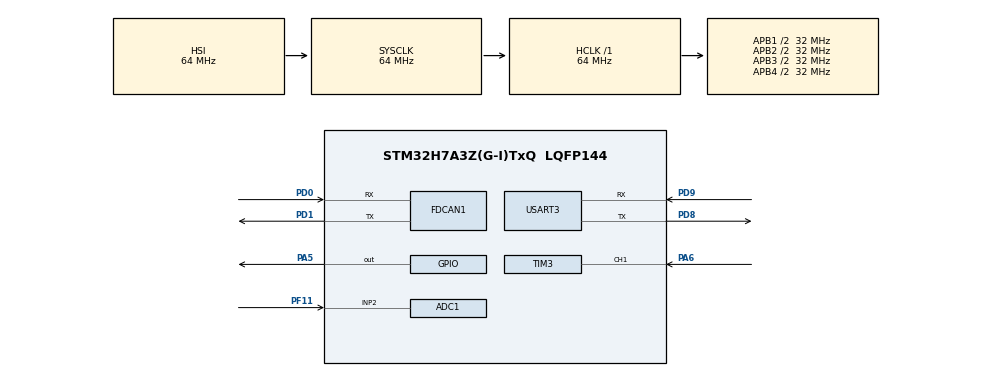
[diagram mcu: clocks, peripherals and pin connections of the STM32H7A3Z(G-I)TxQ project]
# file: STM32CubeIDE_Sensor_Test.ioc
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ADC1.Channel-0\#ChannelRegularConversion=ADC_CHANNEL_2
ADC1.NbrOfConversionFlag=1
ADC1.OffsetNumber-0\#ChannelRegularConversion=ADC_OFFSET_NONE
ADC1.OffsetSignedSaturation-0\#ChannelRegularConversion=DISABLE
ADC1.Rank-0\#ChannelRegularConversion=1
ADC1.SamplingTime-0\#ChannelRegularConversion=ADC_SAMPLETIME_1CYCLE_5
ADC1.master=1
FDCAN1.AutoRetransmission=ENABLE
FDCAN1.DataSyncJumpWidth=4
FDCAN1.DataTimeSeg1=5
FDCAN1.DataTimeSeg2=4
FDCAN1.FrameFormat=FDCAN_FRAME_FD_NO_BRS
FDCAN1.NominalTimeSeg1=5
FDCAN1.RxBuffersNbr=1
FDCAN1.RxFifo0ElmtsNbr=1
FDCAN1.StdFiltersNbr=1
Mcu.Family=STM32H7
Mcu.Name=STM32H7A3Z(G-I)TxQ
Mcu.Package=LQFP144
NVIC.PriorityGroup=NVIC_PRIORITYGROUP_4
NVIC.TIM3_IRQn=true\:0\:0\:false\:false\:true\:true\:true
PA5.Signal=GPIO_Output
PA6.Signal=S_TIM3_CH1
PD0.Mode=FDCAN_Activate
PD0.Signal=FDCAN1_RX
PD1.Mode=FDCAN_Activate
PD1.Signal=FDCAN1_TX
PD8.Mode=Asynchronous
PD8.Signal=USART3_TX
PD9.Mode=Asynchronous
PD9.Signal=USART3_RX
PF11.Mode=IN2-Single-Ended
PF11.Signal=ADC1_INP2
PH0-OSC_IN.Mode=HSE-External-Oscillator
PH0-OSC_IN.Signal=RCC_OSC_IN
PH1-OSC_OUT.Mode=HSE-External-Oscillator
PH1-OSC_OUT.Signal=RCC_OSC_OUT
ProjectManager.HeapSize=0x200
ProjectManager.StackSize=0x400
ProjectManager.TargetToolchain=STM32CubeIDE
RCC.ADCFreq_Value=128000000
RCC.APB1Freq_Value=32000000
RCC.APB2Freq_Value=32000000
RCC.APB3Freq_Value=32000000
RCC.APB4Freq_Value=32000000
RCC.CDPPRE=RCC_APB3_DIV2
RCC.CDPPRE1=RCC_APB1_DIV2
RCC.CDPPRE2=RCC_APB2_DIV2
RCC.CortexFreq_Value=64000000
RCC.DIVM1=4
RCC.DIVM2=4
RCC.DIVN1=8
RCC.DIVN2=8
RCC.DIVP2=1
RCC.DIVQ1=32
RCC.HCLKFreq_Value=64000000
RCC.PLL2FRACN=0
RCC.PLLFRACN=0
RCC.SRDPPRE=RCC_APB4_DIV2
RCC.SYSCLKFreq_VALUE=64000000
RCC.USBFreq_Value=4000000
SH.S_TIM3_CH1.0=TIM3_CH1,Input_Capture1_from_TI1
TIM3.Channel-Input_Capture1_from_TI1=TIM_CHANNEL_1
TIM3.Period=0xffff-1
TIM3.Prescaler=64-1
USART3.VirtualMode-Asynchronous=VM_ASYNC
VP_TIM3_VS_ClockSourceINT.Mode=Internal
board=custom

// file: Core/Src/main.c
/* USER CODE BEGIN Header */
/**
  ******************************************************************************
  * @file           : main.c
  * @brief          : Main program body
  ******************************************************************************
  * @attention
  *
  * Copyright (c) 2023 STMicroelectronics.
  * All rights reserved.
  *
  * This software is licensed under terms that can be found in the LICENSE file
  * in the root directory of this software component.
  * If no LICENSE file comes with this software, it is provided AS-IS.
  *
  ******************************************************************************
  */
/* USER CODE END Header */
#include "main.h"
#include "adc.h"
#include "fdcan.h"
#include "tim.h"
#include "usart.h"
#include "gpio.h"

/* USER CODE BEGIN Includes */
#include "stdio.h"
/* USER CODE END Includes */

/* USER CODE BEGIN PTD */
uint16_t adc1;
/* USER CODE END PTD */

/* USER CODE BEGIN PD */
#define TRIG_PIN GPIO_PIN_5
#define TRIG_PORT GPIOA
/* USER CODE END PD */

/* USER CODE BEGIN PM */
#ifdef __GNUC__
#define PUTCHAR_PROTOTYPE int __io_putchar(int ch)
#else
#define PUTCHAR_PROTOTYPE int fputc(int ch, FILE *f)
#endif

PUTCHAR_PROTOTYPE{
   HAL_UART_Transmit(&huart3, (uint8_t*)&ch, 1, 0xFFFF);
   return ch;
}
/* USER CODE END PM */

/* USER CODE BEGIN PV */
FDCAN_FilterTypeDef sFilterConfig;

uint32_t IC_Val1 = 0;
uint32_t IC_Val2 = 0;
uint32_t Difference = 0;
uint8_t Is_First_Captured = 0;  // is the first value captured ?
uint8_t Distance  = 0;
/* USER CODE END PV */

void SystemClock_Config(void);
/* USER CODE BEGIN PFP */
void delay (uint16_t time)
{
	__HAL_TIM_SET_COUNTER(&htim3, 0);
	while (__HAL_TIM_GET_COUNTER (&htim3) < time);
}

void HAL_TIM_IC_CaptureCallback(TIM_HandleTypeDef *htim)
{
	if (htim->Channel == HAL_TIM_ACTIVE_CHANNEL_1)  // if the interrupt source is channel1
	{
		if (Is_First_Captured==0) // if the first value is not captured
		{
			IC_Val1 = HAL_TIM_ReadCapturedValue(htim, TIM_CHANNEL_1); // read the first value
			Is_First_Captured = 1;  // set the first captured as true
			// Now change the polarity to falling edge
			__HAL_TIM_SET_CAPTUREPOLARITY(htim, TIM_CHANNEL_1, TIM_INPUTCHANNELPOLARITY_FALLING);
		}

		else if (Is_First_Captured==1)   // if the first is already captured
		{
			IC_Val2 = HAL_TIM_ReadCapturedValue(htim, TIM_CHANNEL_1);  // read second value
			__HAL_TIM_SET_COUNTER(htim, 0);  // reset the counter

			if (IC_Val2 > IC_Val1)
			{
				Difference = IC_Val2-IC_Val1;
			}

			else if (IC_Val1 > IC_Val2)
			{
				Difference = (0xffff - IC_Val1) + IC_Val2;
			}

			Distance = Difference * .034/2;
			Is_First_Captured = 0; // set it back to false

			// set polarity to rising edge
			__HAL_TIM_SET_CAPTUREPOLARITY(htim, TIM_CHANNEL_1, TIM_INPUTCHANNELPOLARITY_RISING);
			__HAL_TIM_DISABLE_IT(&htim3, TIM_IT_CC1);
		}
	}
}

void HCSR04_Read (void)
{
	HAL_GPIO_WritePin(TRIG_PORT, TRIG_PIN, GPIO_PIN_SET);  // pull the TRIG pin HIGH
	delay(10);  // wait for 10 us
	HAL_GPIO_WritePin(TRIG_PORT, TRIG_PIN, GPIO_PIN_RESET);  // pull the TRIG pin low

	__HAL_TIM_ENABLE_IT(&htim3, TIM_IT_CC1);
}

/* USER CODE END PFP */

/* USER CODE BEGIN 0 */
FDCAN_FilterTypeDef sFilterConfig;
   FDCAN_TxHeaderTypeDef TxHeader;
   FDCAN_RxHeaderTypeDef RxHeader;
   uint8_t TxData_Node1_To_Node3[8];
   uint8_t TxData_Node3_To_Node2[8];
   uint8_t RxData_From_Node2[8];
   uint8_t RxData_From_Node3[8];

   int _write(int file, unsigned char * p, int len){
   	HAL_UART_Transmit(&huart3, p, len, 10);
   	return len;
   }

   void HAL_FDCAN_RxFifo0Callback(FDCAN_HandleTypeDef *hfdcan, uint32_t RxFifo0ITs)
   {
   //    printf("%s\r\n",);

   //    HAL_Delay (1000);
      if(FDCAN1 == hfdcan->Instance){
     if((RxFifo0ITs & FDCAN_IT_RX_FIFO0_NEW_MESSAGE) != RESET)
     {

   //       HAL_Delay (1000);
       /* Retreive Rx messages from RX FIFO0 */
        //?  기서?    ?????? ? RX FIFO0?   ?  ?   ?   ?????? ?? RxHeader ??????? 복사?   ??????? ?  ?  ?   ??????? RxData 배열 ??????? 복사?  ?  ?  .
       if (HAL_FDCAN_GetRxMessage(hfdcan, FDCAN_RX_FIFO0, &RxHeader, RxData_From_Node3) != HAL_OK)
       {
       /* Reception Error */
       Error_Handler();
       }
      }
      }

   }
/* USER CODE END 0 */

int main(void)
{
  /* USER CODE BEGIN 1 */
	HAL_StatusTypeDef HAL_ADC_Start(ADC_HandleTypeDef* hadc);
			HAL_StatusTypeDef HAL_ADC_PollForConversion(ADC_HandleTypeDef* hadc, uint32_t Timeout);
  /* USER CODE END 1 */

  /* MCU Configuration--------------------------------------------------------*/

  /* Reset of all peripherals, Initializes the Flash interface and the Systick. */
  HAL_Init();

  /* Configure the system clock */
  SystemClock_Config();

  /* Initialize all configured peripherals */
  MX_GPIO_Init();
  MX_ADC1_Init();
  MX_FDCAN1_Init();
  MX_TIM3_Init();
  MX_USART3_UART_Init();
  /* USER CODE BEGIN 2 */
  HAL_TIM_IC_Start_IT(&htim3, TIM_CHANNEL_1);
  /* USER CODE END 2 */

  /* Infinite loop */
  /* USER CODE BEGIN WHILE */
  while (1)
  {
	  HCSR04_Read();
	  	  printf("%d cm\r\n",Distance);

	  	HAL_ADC_Start(&hadc1);
	  		  	  			  HAL_ADC_PollForConversion(&hadc1, 10);
	  		  	  			  adc1 = HAL_ADC_GetValue(&hadc1);
	  		  int adc;
	  		  if(adc1 > 30000)
	  		  	  {
	  		  	  	 adc = 1;
	  		  	  }
	  		  	  if(adc1 < 30000)
	  		  	  {
	  		  	  	adc = 2;
	  		  	  }
	  		  	sprintf ((char *)TxData_Node1_To_Node3, "%d%d",adc,Distance );
	  		  	//	  	"%d",tfDist
	  		  		  		  if (HAL_FDCAN_AddMessageToTxFifoQ(&hfdcan1, &TxHeader, TxData_Node1_To_Node3)!= HAL_OK)
	  		  		  		              {
	  		  		  	//	                 Error_Handler();
	  		  		  		                }
	  		  		  		HAL_Delay(100);
    /* USER CODE END WHILE */

  }
}

void SystemClock_Config(void)
{
  RCC_OscInitTypeDef RCC_OscInitStruct = {0};
  RCC_ClkInitTypeDef RCC_ClkInitStruct = {0};

  /** Supply configuration update enable
  */
  HAL_PWREx_ConfigSupply(PWR_DIRECT_SMPS_SUPPLY);
  /** Configure the main internal regulator output voltage
  */
  __HAL_PWR_VOLTAGESCALING_CONFIG(PWR_REGULATOR_VOLTAGE_SCALE3);

  while(!__HAL_PWR_GET_FLAG(PWR_FLAG_VOSRDY)) {}
  /** Macro to configure the PLL clock source
  */
  __HAL_RCC_PLL_PLLSOURCE_CONFIG(RCC_PLLSOURCE_HSI);
  /** Initializes the RCC Oscillators according to the specified parameters
  * in the RCC_OscInitTypeDef structure.
  */
  RCC_OscInitStruct.OscillatorType = RCC_OSCILLATORTYPE_HSI;
  RCC_OscInitStruct.HSIState = RCC_HSI_DIV1;
  RCC_OscInitStruct.HSICalibrationValue = RCC_HSICALIBRATION_DEFAULT;
  RCC_OscInitStruct.PLL.PLLState = RCC_PLL_ON;
  RCC_OscInitStruct.PLL.PLLSource = RCC_PLLSOURCE_HSI;
  RCC_OscInitStruct.PLL.PLLM = 4;
  RCC_OscInitStruct.PLL.PLLN = 8;
  RCC_OscInitStruct.PLL.PLLP = 2;
  RCC_OscInitStruct.PLL.PLLQ = 32;
  RCC_OscInitStruct.PLL.PLLR = 2;
  RCC_OscInitStruct.PLL.PLLRGE = RCC_PLL1VCIRANGE_3;
  RCC_OscInitStruct.PLL.PLLVCOSEL = RCC_PLL1VCOWIDE;
  RCC_OscInitStruct.PLL.PLLFRACN = 0;
  if (HAL_RCC_OscConfig(&RCC_OscInitStruct) != HAL_OK)
  {
    Error_Handler();
  }
  /** Initializes the CPU, AHB and APB buses clocks
  */
  RCC_ClkInitStruct.ClockType = RCC_CLOCKTYPE_HCLK|RCC_CLOCKTYPE_SYSCLK
                              |RCC_CLOCKTYPE_PCLK1|RCC_CLOCKTYPE_PCLK2
                              |RCC_CLOCKTYPE_D3PCLK1|RCC_CLOCKTYPE_D1PCLK1;
  RCC_ClkInitStruct.SYSCLKSource = RCC_SYSCLKSOURCE_HSI;
  RCC_ClkInitStruct.SYSCLKDivider = RCC_SYSCLK_DIV1;
  RCC_ClkInitStruct.AHBCLKDivider = RCC_HCLK_DIV1;
  RCC_ClkInitStruct.APB3CLKDivider = RCC_APB3_DIV2;
  RCC_ClkInitStruct.APB1CLKDivider = RCC_APB1_DIV2;
  RCC_ClkInitStruct.APB2CLKDivider = RCC_APB2_DIV2;
  RCC_ClkInitStruct.APB4CLKDivider = RCC_APB4_DIV2;

  if (HAL_RCC_ClockConfig(&RCC_ClkInitStruct, FLASH_LATENCY_2) != HAL_OK)
  {
    Error_Handler();
  }
}

void Error_Handler(void)
{
  __disable_irq();
  while (1)
  {
  }
}
